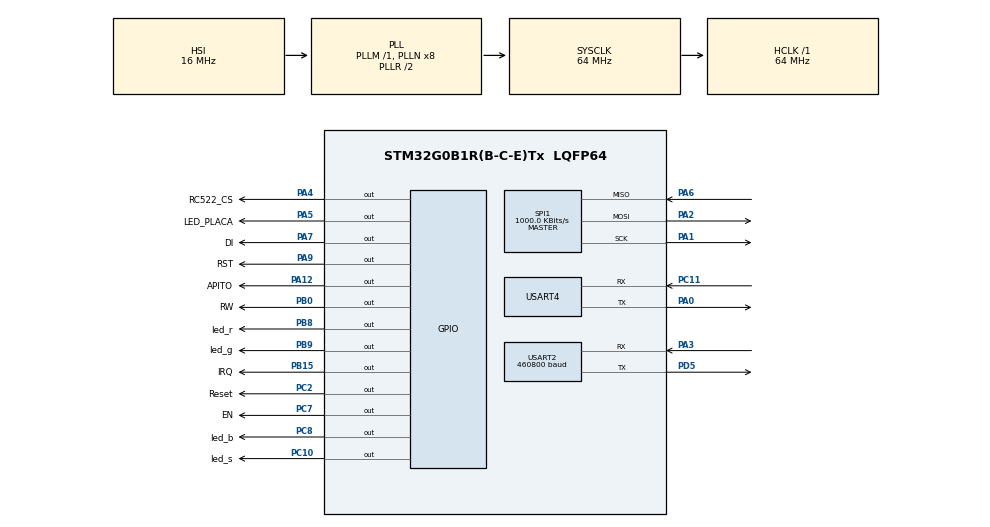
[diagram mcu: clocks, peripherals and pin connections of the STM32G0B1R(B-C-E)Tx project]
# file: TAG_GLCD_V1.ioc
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Mcu.Family=STM32G0
Mcu.Name=STM32G0B1R(B-C-E)Tx
Mcu.Package=LQFP64
NVIC.TIM2_IRQn=true\:0\:0\:false\:false\:true\:true\:true
NVIC.USART2_LPUART2_IRQn=true\:0\:0\:false\:false\:true\:true\:true
NVIC.USART3_4_5_6_LPUART1_IRQn=true\:0\:0\:false\:false\:true\:true\:true
PA0.Mode=Asynchronous
PA0.Signal=USART4_TX
PA1.Mode=Full_Duplex_Master
PA1.Signal=SPI1_SCK
PA12\ [PA10].GPIO_Label=APITO
PA12\ [PA10].Signal=GPIO_Output
PA13.Mode=Serial_Wire
PA13.Signal=SYS_SWDIO
PA14-BOOT0.Mode=Serial_Wire
PA14-BOOT0.Signal=SYS_SWCLK
PA2.Mode=Full_Duplex_Master
PA2.Signal=SPI1_MOSI
PA3.Mode=Asynchronous
PA3.Signal=USART2_RX
PA4.GPIO_Label=RC522_CS
PA4.Signal=GPIO_Output
PA5.GPIO_Label=LED_PLACA
PA5.Signal=GPIO_Output
PA6.Mode=Full_Duplex_Master
PA6.Signal=SPI1_MISO
PA7.GPIO_Label=DI
PA7.Signal=GPIO_Output
PA9.GPIO_Label=RST
PA9.Signal=GPIO_Output
PB0.GPIO_Label=RW
PB0.Signal=GPIO_Output
PB15.GPIO_Label=IRQ
PB15.Signal=GPIO_Output
PB8.GPIO_Label=led_r
PB8.Signal=GPIO_Output
PB9.GPIO_Label=led_g
PB9.Signal=GPIO_Output
PC10.GPIO_Label=led_s
PC10.Signal=GPIO_Output
PC11.Mode=Asynchronous
PC11.Signal=USART4_RX
PC13.Mode=SYS_WakeUp1
PC13.Signal=SYS_WKUP2
PC2.GPIO_Label=Reset
PC2.Signal=GPIO_Output
PC7.GPIO_Label=EN
PC7.Signal=GPIO_Output
PC8.GPIO_Label=led_b
PC8.Signal=GPIO_Output
PD5.Mode=Asynchronous
PD5.Signal=USART2_TX
PF0-OSC_IN\ (PF0).Mode=HSE-External-Oscillator
PF0-OSC_IN\ (PF0).Signal=RCC_OSC_IN
PF1-OSC_OUT\ (PF1).Mode=HSE-External-Oscillator
PF1-OSC_OUT\ (PF1).Signal=RCC_OSC_OUT
ProjectManager.HeapSize=0x200
ProjectManager.StackSize=0x400
ProjectManager.TargetToolchain=STM32CubeIDE
RCC.ADCFreq_Value=64000000
RCC.AHBFreq_Value=64000000
RCC.CortexFreq_Value=64000000
RCC.EXTERNAL_CLOCK_VALUE=48000
RCC.HCLKFreq_Value=64000000
RCC.HSE_VALUE=8000000
RCC.HSI48_VALUE=48000000
RCC.HSI_VALUE=16000000
RCC.LSE_VALUE=32768
RCC.SYSCLKFreq_VALUE=64000000
RCC.SYSCLKSource=RCC_SYSCLKSOURCE_PLLCLK
RCC.USBFreq_Value=48000000
RCC.VCOOutputFreq_Value=128000000
SPI1.BaudRatePrescaler=SPI_BAUDRATEPRESCALER_64
SPI1.CalculateBaudRate=1000.0 KBits/s
SPI1.Direction=SPI_DIRECTION_2LINES
SPI1.Mode=SPI_MODE_MASTER
SPI1.VirtualType=VM_MASTER
TIM1.Period=0xffff-1
TIM1.Prescaler=64-1
TIM2.Period=7200
TIM2.Prescaler=9999
USART2.BaudRate=460800
USART2.VirtualMode-Asynchronous=VM_ASYNC
USART4.VirtualMode-Asynchronous=VM_ASYNC
VP_SYS_VS_DBSignals.Mode=DisableDeadBatterySignals
VP_TIM1_VS_ClockSourceINT.Mode=Internal
VP_TIM2_VS_ClockSourceINT.Mode=Internal
board=custom

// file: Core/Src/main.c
/* USER CODE BEGIN Header */
/**
  ******************************************************************************
  * @file           : main.c
  * @brief          : Main program body
  ******************************************************************************
  * @attention
  *
  * Copyright (c) 2022 STMicroelectronics.
  * All rights reserved.
  *
  * This software is licensed under terms that can be found in the LICENSE file
  * in the root directory of this software component.
  * If no LICENSE file comes with this software, it is provided AS-IS.
  *
  ******************************************************************************
  */
/* USER CODE END Header */
#include "main.h"

/* USER CODE BEGIN Includes */

#include "ST7920_SERIAL.h"
#include "delay.h"
#include "bitmap.h"
#include "MFRC522.h"
#include "string.h"
#include <stdint.h>

#define buffer 100

uint8_t Dado;
uint8_t flag_transmit, flag_receive, conta=0;
uint8_t Data_AT [7][50] = {"AT\r\n","AT+CWMODE=3\r\n","AT+CWSAP=\"TESTE\",\"12345678\",1,4\r\n","AT+CIPMUX=0\r\n","AT+CIPMODE=1\r\n","AT+CIPSTART=\"UDP\",\"192.168.4.2\",8696,8696\r\n","AT+CIPSEND\r\n"};
uint8_t Rec[buffer];
uint8_t send = 0;
uint8_t Mensagem;

uint8_t status = 144;
uint8_t str[5];
uint8_t cardstr[3];
uint8_t login[10][5];
uint8_t flagCadrst=0, qntsUser=0, flagGraph=0, podeLer = 1, timer=0;
uint8_t i = 0, x = 0;
char msg[] = "Corrente = ";

/* USER CODE END Includes */

SPI_HandleTypeDef hspi1;

TIM_HandleTypeDef htim1;
TIM_HandleTypeDef htim2;

UART_HandleTypeDef huart2;
UART_HandleTypeDef huart4;

void SystemClock_Config(void);
static void MX_GPIO_Init(void);
static void MX_SPI1_Init(void);
static void MX_TIM1_Init(void);
static void MX_TIM2_Init(void);
static void MX_USART2_UART_Init(void);
static void MX_USART4_UART_Init(void);

/* USER CODE BEGIN 0 */

/* Funções ESP32 -------------------------------------------------------------*/
void HAL_UART_TxCpltCallback(UART_HandleTypeDef *huart)
{
	flag_transmit = 0;
}

void HAL_UART_RxCpltCallback(UART_HandleTypeDef *huart)
{
	HAL_UART_Transmit(&huart2, &Rec[conta], 1, 10);

	if(Rec[conta]== '>'){
		HAL_UART_Receive_IT(&huart4, &Dado, 4); 					// é aqui

	}else{
		conta++;
		if(conta>=buffer)
				conta=0;

		HAL_UART_Receive_IT(&huart4, &Rec[conta], 1);
	}

}

// Retorna o valor do ultimo byte recebido: se for '>' quer dizer que a comunicação está estabelecida
uint8_t Esp_Comandos(void){

	for(int i=0; i<7;i++){

		flag_transmit = 1;
		HAL_UART_Transmit_IT(&huart4, Data_AT[i], strlen(Data_AT[i]));
		while(flag_transmit);

		conta=0;
		flag_receive = 1;
		HAL_UART_Receive_IT(&huart4, Rec, 1);
		while(flag_receive)
		{
			//HAL_Delay(1);
			if(Rec[conta-1]=='\n')
			{
				if(Rec[conta-3]=='K')
					flag_receive = 0;
				else if(Rec[conta-3]=='R')
				{
					i--;
					flag_receive = 0;
				}
			}
		}
		HAL_Delay(2000);
	}

	return '>';

}

/* FIM FUNÇÕES ESP32 ----------------------------------------------------------*/

/* FUNÇÔES RFID + LCD ---------------------------------------------------------*/

//Le a tag
void leTag(){											// Status recebe o Request avisando se possui ou não uma tag encostada ao sensor
	if(podeLer == 1){
		status = MFRC522_Request(PICC_REQIDL, cardstr);
		if( status == 0){
		  status = MFRC522_Anticoll(str);
		  podeLer = 0;

		}
	}
}

//Limpa a tag recebida
void limpaTag(uint8_t *a){							// Função que limpa a Tag recebida
	for(int i=0; i < 5; i++){a[i] = 0x0;}
}

void bloqueiaTag(uint8_t pos){						// Função que exclui a tag do database
	for (uint8_t y = 0; y < 5; ++y) {
		login[pos][y] = 0xFF;
	}
	for (uint8_t z = pos; z < 10; ++z) {
		for (uint8_t y = 0; y < 5; ++y) {
			login[z][y] = login[z+1][y];
		}
	}
	qntsUser--;
	limpaTag(str);
	return;
}
//Compara um vetor com a database de TAGS
uint8_t comparaTag(uint8_t *comp){
	i = 0;
	x = 0;

	if(comp[0] == 0x27 && comp[1] == 0x25 && comp[2] == 0xd && comp[3] == 0x3c && comp[4] == 0x33){		// Se a tag for essa ( Cartão ) entrará no modo de cadastro
		return 2;
	}

	while(x < 10){					// While compara as tags do database com a que está sendo lida, caso seja uma nova tag, ele a adiciona no proximo endereço do DB
		while(comp[i] == login[x][i] && i != 5){i++;}

		if(i == 5){
			if(flagCadrst == 1 ){
			bloqueiaTag(x);
			flagCadrst = 0;
			}
			return 1;
		}
		x++;
	}

	return 0;
}

void HAL_TIM_PeriodElapsedCallback(TIM_HandleTypeDef *htim){
	if(podeLer == 0){
		timer++;
	}

	if(timer >= 1){
		podeLer = 1;
		timer = 0;
	}
}

//Verifica o GraphicMode do GLCD
void verificaGMode(uint8_t mode){
	// GMODE 0
	if(mode == 0 && flagGraph == 1){
		flagGraph = 0;
		ST7920_Clear();
		ST7920_GraphicMode(0);
	}
	else if(mode == 0 && flagGraph == 0){
		flagGraph = 0;
		ST7920_Clear();
	}

	// GMODE 1
	else if(mode == 1 && flagGraph == 0){
		flagGraph = 1;
		ST7920_Clear();
		ST7920_GraphicMode(1);
	}
	else if(mode == 1 && flagGraph == 1){
		flagGraph = 1;
		return;
	}
}

/* FIM FUNÇÕES RFID + LCD ------------------------------------------------------*/

/* USER CODE END 0 */

int main(void)
{

  /* MCU Configuration--------------------------------------------------------*/

  /* Reset of all peripherals, Initializes the Flash interface and the Systick. */
  HAL_Init();

  /* Configure the system clock */
  SystemClock_Config();

  /* Initialize all configured peripherals */
  MX_GPIO_Init();
  MX_SPI1_Init();
  MX_TIM1_Init();
  MX_TIM2_Init();
  MX_USART2_UART_Init();
  MX_USART4_UART_Init();
  /* USER CODE BEGIN 2 */
  //inicia
  HAL_TIM_Base_Start_IT(&htim2);
  delay_init();
  ST7920_Init();
  MFRC522_Init();

  HAL_GPIO_WritePin(led_s_GPIO_Port, led_s_Pin, 1);
  HAL_GPIO_WritePin(led_g_GPIO_Port, led_g_Pin, 1);
  HAL_GPIO_WritePin(led_r_GPIO_Port, led_r_Pin, 1);
  HAL_GPIO_WritePin(led_b_GPIO_Port, led_b_Pin, 1);

  status = Read_MFRC522(VersionReg);

 for (uint8_t x = 0; x < 10; ++x) {						// Limpa todas Tags do database
	  for (uint8_t y = 0; y < 5; ++y) {
		  login[x][y] = 0xFF;
	  }
 }
  ST7920_GraphicMode(1);
  ST7920_DrawBitmap(foto_mosfet);		// Inicia o display e aguarda a inicialização do ESP
  HAL_Delay(5000);

 if(Esp_Comandos()=='>') // Se estiver conectado com o outro módulo, liga o LED
  {
	  HAL_GPIO_WritePin(LED_PLACA_GPIO_Port, LED_PLACA_Pin, 1);
  }
  else
  {
	  while(1)	// Se houve algum erro na conexão, o programa fica travado e o LED fica piscando
	  {
		  HAL_GPIO_TogglePin(LED_PLACA_GPIO_Port, LED_PLACA_Pin);
		  HAL_Delay (250);
		  ST7920_DrawBitmap(kawaideado_recusada);
	  }
  }

  HAL_GPIO_WritePin(led_b_GPIO_Port, led_b_Pin, 0);			// Inicia o LED RGB
  HAL_Delay(500);
  HAL_GPIO_WritePin(led_b_GPIO_Port, led_b_Pin, 1);
  HAL_GPIO_WritePin(APITO_GPIO_Port, APITO_Pin, 1);			// Buzzer apita indicando o inicio
  HAL_Delay(25);
  HAL_GPIO_WritePin(APITO_GPIO_Port, APITO_Pin, 0);
  /* USER CODE END 2 */

  /* Infinite loop */
  /* USER CODE BEGIN WHILE */
  while (1)
  {

	  //Lê a tag podendo retornar
	  leTag();

	  //Ativa o modo cadastro
	  if(flagCadrst == 1){
		  verificaGMode(0);

		  //Enquanto o modo cadastro estiver ativado, lê a tag que se aproxima
		  while(flagCadrst == 1){
			  leTag();
			  ST7920_SendString(1, 2, "Cadastro!");
			  ST7920_SendString(2, 0, "Aproxime a TAG");

			  //Verifica se está lendo alguma coisa
			  if(str[0] != 0x00){
				  if(comparaTag(str) == 1){		// chama a função, podendo ser 0 para novo cadastro | 1 para tag removida | 2 para o modo ler tensão | 3 para modo cadastro
					  verificaGMode(1);
					  ST7920_DrawBitmap(kawaideado_removido);

					  HAL_GPIO_WritePin(APITO_GPIO_Port, APITO_Pin, 1);
					  HAL_Delay(100);
					  HAL_GPIO_WritePin(APITO_GPIO_Port, APITO_Pin, 0);
					  HAL_Delay(400);

					  HAL_GPIO_WritePin(APITO_GPIO_Port, APITO_Pin, 1);
					  HAL_Delay(100);
					  HAL_GPIO_WritePin(APITO_GPIO_Port, APITO_Pin, 0);
					  HAL_Delay(700);
				  }
				  else if(comparaTag(str) == 0){
					  for (uint8_t j = 0; j < 5; ++j) {
						  login[qntsUser][j] = str[j];
					  }
					  qntsUser++;

					  verificaGMode(1);
					  ST7920_DrawBitmap(kawaideado_cadastro);

					  HAL_GPIO_WritePin(led_b_GPIO_Port, led_b_Pin, 0);
					  HAL_Delay(350);
					  HAL_GPIO_WritePin(led_b_GPIO_Port, led_b_Pin, 1);

					  HAL_GPIO_WritePin(led_b_GPIO_Port, led_b_Pin, 0);
					  HAL_Delay(350);
					  HAL_GPIO_WritePin(led_b_GPIO_Port, led_b_Pin, 1);
					  flagCadrst = 0;
				  }else if(comparaTag(str) == 2){
						if(flagCadrst == 1){
							flagCadrst = 0;
						}else if(flagCadrst == 0){
							flagCadrst = 1;
						}
				  }
			  limpaTag(str);
			  }
		  }
	  }else {
		  verificaGMode(1);
		  leTag();

		  while(flagCadrst == 0){		// se não houver tag sendo liga, sensor continua lendo
			  leTag();

			  if(str[0] != 0x00){

				  if(comparaTag(str) == 1){

					  	  // TRANSMISSÃO
						  Mensagem = 1;
						  HAL_UART_Transmit_IT(&huart4, &Mensagem, 1);
						  //HAL_Delay(100);

					  ST7920_DrawBitmap(kawaideado_open);

					  HAL_GPIO_WritePin(APITO_GPIO_Port, APITO_Pin, 1);
					  HAL_GPIO_WritePin(led_r_GPIO_Port, led_r_Pin, 1);
					  HAL_GPIO_WritePin(led_g_GPIO_Port, led_g_Pin, 0);

					  HAL_Delay(100);

					  HAL_GPIO_WritePin(APITO_GPIO_Port, APITO_Pin, 0);
					  HAL_GPIO_WritePin(led_g_GPIO_Port, led_g_Pin, 1);

					  HAL_Delay(50);

					  HAL_GPIO_WritePin(APITO_GPIO_Port, APITO_Pin, 1);
					  HAL_GPIO_WritePin(led_g_GPIO_Port, led_g_Pin, 0);

					  HAL_Delay(100);

					  HAL_GPIO_WritePin(APITO_GPIO_Port, APITO_Pin, 0);
					  HAL_GPIO_WritePin(led_g_GPIO_Port, led_g_Pin, 1);
					  HAL_Delay(600);

				  }else if(comparaTag(str) == 0){
					  ST7920_DrawBitmap(kawaideado_recusada);

					  // TRANSMISSÃO
					  Mensagem = 2;
					  HAL_UART_Transmit_IT(&huart4, &Mensagem, 1);
//					  HAL_Delay(100);

					  HAL_GPIO_WritePin(APITO_GPIO_Port, APITO_Pin, 1);
					  HAL_GPIO_WritePin(led_r_GPIO_Port, led_r_Pin, 0);
					  HAL_GPIO_WritePin(led_g_GPIO_Port, led_g_Pin, 1);

					  HAL_Delay(250);

					  HAL_GPIO_WritePin(APITO_GPIO_Port, APITO_Pin, 0);
					  HAL_GPIO_WritePin(led_r_GPIO_Port, led_r_Pin, 1);
					  HAL_Delay(600);
				  }
				  else if(comparaTag(str) == 2){
						if(flagCadrst == 1){
							flagCadrst = 0;
						}else if(flagCadrst == 0){
							flagCadrst = 1;
						}
				  }
			  }else{
				  verificaGMode(1);
				  ST7920_DrawBitmap(kawaideado_normal);
			  }
			  limpaTag(str);

		  }
	  }
    /* USER CODE END WHILE */

  }
}

void SystemClock_Config(void)
{
  RCC_OscInitTypeDef RCC_OscInitStruct = {0};
  RCC_ClkInitTypeDef RCC_ClkInitStruct = {0};

  /** Configure the main internal regulator output voltage
  */
  HAL_PWREx_ControlVoltageScaling(PWR_REGULATOR_VOLTAGE_SCALE1);
  /** Initializes the RCC Oscillators according to the specified parameters
  * in the RCC_OscInitTypeDef structure.
  */
  RCC_OscInitStruct.OscillatorType = RCC_OSCILLATORTYPE_HSI;
  RCC_OscInitStruct.HSIState = RCC_HSI_ON;
  RCC_OscInitStruct.HSIDiv = RCC_HSI_DIV1;
  RCC_OscInitStruct.HSICalibrationValue = RCC_HSICALIBRATION_DEFAULT;
  RCC_OscInitStruct.PLL.PLLState = RCC_PLL_ON;
  RCC_OscInitStruct.PLL.PLLSource = RCC_PLLSOURCE_HSI;
  RCC_OscInitStruct.PLL.PLLM = RCC_PLLM_DIV1;
  RCC_OscInitStruct.PLL.PLLN = 8;
  RCC_OscInitStruct.PLL.PLLP = RCC_PLLP_DIV2;
  RCC_OscInitStruct.PLL.PLLQ = RCC_PLLQ_DIV2;
  RCC_OscInitStruct.PLL.PLLR = RCC_PLLR_DIV2;
  if (HAL_RCC_OscConfig(&RCC_OscInitStruct) != HAL_OK)
  {
    Error_Handler();
  }
  /** Initializes the CPU, AHB and APB buses clocks
  */
  RCC_ClkInitStruct.ClockType = RCC_CLOCKTYPE_HCLK|RCC_CLOCKTYPE_SYSCLK
                              |RCC_CLOCKTYPE_PCLK1;
  RCC_ClkInitStruct.SYSCLKSource = RCC_SYSCLKSOURCE_PLLCLK;
  RCC_ClkInitStruct.AHBCLKDivider = RCC_SYSCLK_DIV1;
  RCC_ClkInitStruct.APB1CLKDivider = RCC_HCLK_DIV1;

  if (HAL_RCC_ClockConfig(&RCC_ClkInitStruct, FLASH_LATENCY_2) != HAL_OK)
  {
    Error_Handler();
  }
}

static void MX_SPI1_Init(void)
{

  /* SPI1 parameter configuration*/
  hspi1.Instance = SPI1;
  hspi1.Init.Mode = SPI_MODE_MASTER;
  hspi1.Init.Direction = SPI_DIRECTION_2LINES;
  hspi1.Init.DataSize = SPI_DATASIZE_8BIT;
  hspi1.Init.CLKPolarity = SPI_POLARITY_LOW;
  hspi1.Init.CLKPhase = SPI_PHASE_1EDGE;
  hspi1.Init.NSS = SPI_NSS_SOFT;
  hspi1.Init.BaudRatePrescaler = SPI_BAUDRATEPRESCALER_64;
  hspi1.Init.FirstBit = SPI_FIRSTBIT_MSB;
  hspi1.Init.TIMode = SPI_TIMODE_DISABLE;
  hspi1.Init.CRCCalculation = SPI_CRCCALCULATION_DISABLE;
  hspi1.Init.CRCPolynomial = 7;
  hspi1.Init.CRCLength = SPI_CRC_LENGTH_DATASIZE;
  hspi1.Init.NSSPMode = SPI_NSS_PULSE_ENABLE;
  if (HAL_SPI_Init(&hspi1) != HAL_OK)
  {
    Error_Handler();
  }

}

static void MX_TIM1_Init(void)
{

  TIM_ClockConfigTypeDef sClockSourceConfig = {0};
  TIM_MasterConfigTypeDef sMasterConfig = {0};

  htim1.Instance = TIM1;
  htim1.Init.Prescaler = 64-1;
  htim1.Init.CounterMode = TIM_COUNTERMODE_UP;
  htim1.Init.Period = 0xffff-1;
  htim1.Init.ClockDivision = TIM_CLOCKDIVISION_DIV1;
  htim1.Init.RepetitionCounter = 0;
  htim1.Init.AutoReloadPreload = TIM_AUTORELOAD_PRELOAD_DISABLE;
  if (HAL_TIM_Base_Init(&htim1) != HAL_OK)
  {
    Error_Handler();
  }
  sClockSourceConfig.ClockSource = TIM_CLOCKSOURCE_INTERNAL;
  if (HAL_TIM_ConfigClockSource(&htim1, &sClockSourceConfig) != HAL_OK)
  {
    Error_Handler();
  }
  sMasterConfig.MasterOutputTrigger = TIM_TRGO_RESET;
  sMasterConfig.MasterOutputTrigger2 = TIM_TRGO2_RESET;
  sMasterConfig.MasterSlaveMode = TIM_MASTERSLAVEMODE_DISABLE;
  if (HAL_TIMEx_MasterConfigSynchronization(&htim1, &sMasterConfig) != HAL_OK)
  {
    Error_Handler();
  }

}

static void MX_TIM2_Init(void)
{

  TIM_ClockConfigTypeDef sClockSourceConfig = {0};
  TIM_MasterConfigTypeDef sMasterConfig = {0};

  htim2.Instance = TIM2;
  htim2.Init.Prescaler = 9999;
  htim2.Init.CounterMode = TIM_COUNTERMODE_UP;
  htim2.Init.Period = 7200;
  htim2.Init.ClockDivision = TIM_CLOCKDIVISION_DIV1;
  htim2.Init.AutoReloadPreload = TIM_AUTORELOAD_PRELOAD_DISABLE;
  if (HAL_TIM_Base_Init(&htim2) != HAL_OK)
  {
    Error_Handler();
  }
  sClockSourceConfig.ClockSource = TIM_CLOCKSOURCE_INTERNAL;
  if (HAL_TIM_ConfigClockSource(&htim2, &sClockSourceConfig) != HAL_OK)
  {
    Error_Handler();
  }
  sMasterConfig.MasterOutputTrigger = TIM_TRGO_RESET;
  sMasterConfig.MasterSlaveMode = TIM_MASTERSLAVEMODE_DISABLE;
  if (HAL_TIMEx_MasterConfigSynchronization(&htim2, &sMasterConfig) != HAL_OK)
  {
    Error_Handler();
  }

}

static void MX_USART2_UART_Init(void)
{

  huart2.Instance = USART2;
  huart2.Init.BaudRate = 460800;
  huart2.Init.WordLength = UART_WORDLENGTH_8B;
  huart2.Init.StopBits = UART_STOPBITS_1;
  huart2.Init.Parity = UART_PARITY_NONE;
  huart2.Init.Mode = UART_MODE_TX_RX;
  huart2.Init.HwFlowCtl = UART_HWCONTROL_NONE;
  huart2.Init.OverSampling = UART_OVERSAMPLING_16;
  huart2.Init.OneBitSampling = UART_ONE_BIT_SAMPLE_DISABLE;
  huart2.Init.ClockPrescaler = UART_PRESCALER_DIV1;
  huart2.AdvancedInit.AdvFeatureInit = UART_ADVFEATURE_NO_INIT;
  if (HAL_UART_Init(&huart2) != HAL_OK)
  {
    Error_Handler();
  }
  if (HAL_UARTEx_SetTxFifoThreshold(&huart2, UART_TXFIFO_THRESHOLD_1_8) != HAL_OK)
  {
    Error_Handler();
  }
  if (HAL_UARTEx_SetRxFifoThreshold(&huart2, UART_RXFIFO_THRESHOLD_1_8) != HAL_OK)
  {
    Error_Handler();
  }
  if (HAL_UARTEx_DisableFifoMode(&huart2) != HAL_OK)
  {
    Error_Handler();
  }

}

static void MX_USART4_UART_Init(void)
{

  huart4.Instance = USART4;
  huart4.Init.BaudRate = 115200;
  huart4.Init.WordLength = UART_WORDLENGTH_8B;
  huart4.Init.StopBits = UART_STOPBITS_1;
  huart4.Init.Parity = UART_PARITY_NONE;
  huart4.Init.Mode = UART_MODE_TX_RX;
  huart4.Init.HwFlowCtl = UART_HWCONTROL_NONE;
  huart4.Init.OverSampling = UART_OVERSAMPLING_16;
  huart4.Init.OneBitSampling = UART_ONE_BIT_SAMPLE_DISABLE;
  huart4.Init.ClockPrescaler = UART_PRESCALER_DIV1;
  huart4.AdvancedInit.AdvFeatureInit = UART_ADVFEATURE_NO_INIT;
  if (HAL_UART_Init(&huart4) != HAL_OK)
  {
    Error_Handler();
  }

}

static void MX_GPIO_Init(void)
{
  GPIO_InitTypeDef GPIO_InitStruct = {0};

  /* GPIO Ports Clock Enable */
  __HAL_RCC_GPIOC_CLK_ENABLE();
  __HAL_RCC_GPIOF_CLK_ENABLE();
  __HAL_RCC_GPIOA_CLK_ENABLE();
  __HAL_RCC_GPIOB_CLK_ENABLE();
  __HAL_RCC_GPIOD_CLK_ENABLE();

  /*Configure GPIO pin Output Level */
  HAL_GPIO_WritePin(GPIOC, Reset_Pin|EN_Pin|led_b_Pin|led_s_Pin, GPIO_PIN_RESET);

  /*Configure GPIO pin Output Level */
  HAL_GPIO_WritePin(GPIOA, RC522_CS_Pin|LED_PLACA_Pin|DI_Pin|RST_Pin
                          |APITO_Pin, GPIO_PIN_RESET);

  /*Configure GPIO pin Output Level */
  HAL_GPIO_WritePin(GPIOB, RW_Pin|IRQ_Pin|led_r_Pin|led_g_Pin, GPIO_PIN_RESET);

  /*Configure GPIO pins : Reset_Pin EN_Pin led_b_Pin led_s_Pin */
  GPIO_InitStruct.Pin = Reset_Pin|EN_Pin|led_b_Pin|led_s_Pin;
  GPIO_InitStruct.Mode = GPIO_MODE_OUTPUT_PP;
  GPIO_InitStruct.Pull = GPIO_NOPULL;
  GPIO_InitStruct.Speed = GPIO_SPEED_FREQ_LOW;
  HAL_GPIO_Init(GPIOC, &GPIO_InitStruct);

  /*Configure GPIO pins : RC522_CS_Pin LED_PLACA_Pin DI_Pin RST_Pin
                           APITO_Pin */
  GPIO_InitStruct.Pin = RC522_CS_Pin|LED_PLACA_Pin|DI_Pin|RST_Pin
                          |APITO_Pin;
  GPIO_InitStruct.Mode = GPIO_MODE_OUTPUT_PP;
  GPIO_InitStruct.Pull = GPIO_NOPULL;
  GPIO_InitStruct.Speed = GPIO_SPEED_FREQ_LOW;
  HAL_GPIO_Init(GPIOA, &GPIO_InitStruct);

  /*Configure GPIO pins : RW_Pin IRQ_Pin led_r_Pin led_g_Pin */
  GPIO_InitStruct.Pin = RW_Pin|IRQ_Pin|led_r_Pin|led_g_Pin;
  GPIO_InitStruct.Mode = GPIO_MODE_OUTPUT_PP;
  GPIO_InitStruct.Pull = GPIO_NOPULL;
  GPIO_InitStruct.Speed = GPIO_SPEED_FREQ_LOW;
  HAL_GPIO_Init(GPIOB, &GPIO_InitStruct);

}

void Error_Handler(void)
{
  __disable_irq();
  while (1)
  {
  }
}
